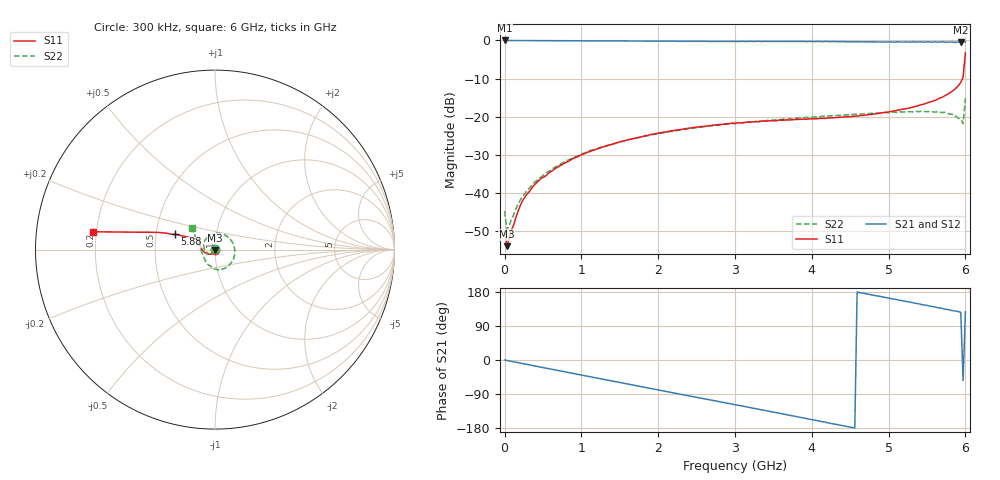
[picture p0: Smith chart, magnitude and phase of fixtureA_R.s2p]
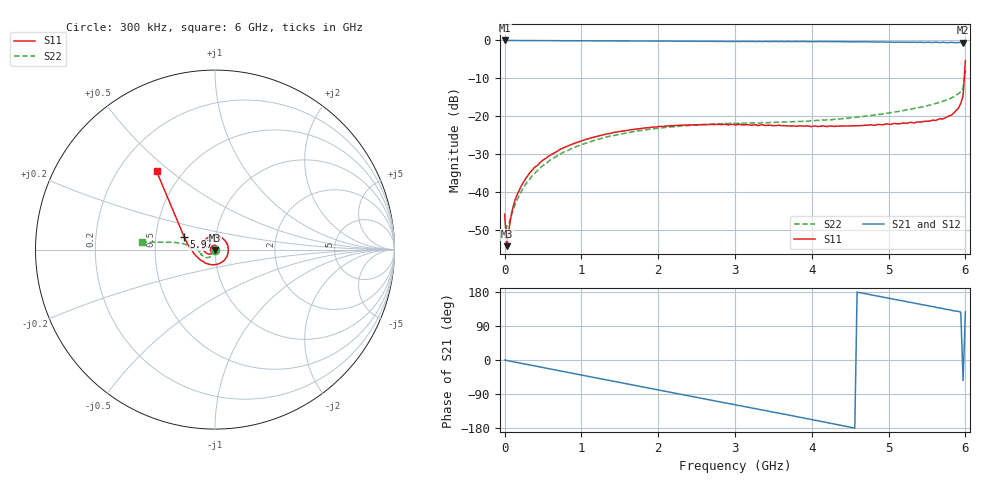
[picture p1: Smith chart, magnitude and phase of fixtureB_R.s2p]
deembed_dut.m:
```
clc 
clear

%%Deembedding resistors
fixture_DUT_fixture_S_params_10ohms = sparameters("X:\EE_514\Measured_Data\EE514_Components\0603_res\0603_RES_10OHMS.S2P");
fixture_DUT_fixture_S_params_51ohms = sparameters("X:\EE_514\Measured_Data\EE514_Components\0603_res\0603_RES_51OHMS.S2P");
fixture_DUT_fixture_S_params_820ohms = sparameters("X:\EE_514\Measured_Data\EE514_Components\0603_res\0603_RES_820OHMS.S2P");

fixture_A_S_params = sparameters("fixtureA_R.s2p");
fixture_B_S_params = sparameters("fixtureB_R.s2p");

% fixture_DUT_fixture_S_params_10ohms.Frequencies = fixture_A_S_params.Frequencies;
% fixture_DUT_fixture_S_params_51ohms.Frequencies = fixture_A_S_params.Frequencies;
% fixture_DUT_fixture_S_params_820ohms.Frequencies = fixture_A_S_params.Frequencies;

DUT_ONLY_SPARAMS_10ohms = deembedsparams(fixture_DUT_fixture_S_params_10ohms, fixture_A_S_params, fixture_B_S_params);
DUT_ONLY_SPARAMS_51ohms = deembedsparams(fixture_DUT_fixture_S_params_51ohms, fixture_A_S_params, fixture_B_S_params);
DUT_ONLY_SPARAMS_820ohms = deembedsparams(fixture_DUT_fixture_S_params_820ohms, fixture_A_S_params, fixture_B_S_params);

rfwrite(DUT_ONLY_SPARAMS_10ohms,'RES_0603_10OHM.s2p','FrequencyUnit', 'Hz');
rfwrite(DUT_ONLY_SPARAMS_51ohms,'RES_0603_51OHM.s2p','FrequencyUnit', 'Hz');
rfwrite(DUT_ONLY_SPARAMS_820ohms,'RES_0603_820OHM.s2p','FrequencyUnit', 'Hz');

%%
%%Deembedding capacitors
fixture_DUT_fixture_S_params_1P5PF = sparameters("X:\EE_514\Measured_Data\EE514_Components\0603_cap\0603_CAP_1P5PF.S2P");
fixture_DUT_fixture_S_params_2P7PF = sparameters("X:\EE_514\Measured_Data\EE514_Components\0603_cap\0603_CAP_2P7PF.S2P");
fixture_DUT_fixture_S_params_5P6PF = sparameters("X:\EE_514\Measured_Data\EE514_Components\0603_cap\0603_CAP_5P6PF.S2P");

fixture_A_S_params = sparameters("fixtureA_C.s2p");
fixture_B_S_params = sparameters("fixtureB_C.s2p");

% fixture_DUT_fixture_S_params_1P5PF.Frequencies = fixture_A_S_params.Frequencies;
% fixture_DUT_fixture_S_params_2P7PF.Frequencies = fixture_A_S_params.Frequencies;
% fixture_DUT_fixture_S_params_5P6PF.Frequencies = fixture_A_S_params.Frequencies;

DUT_ONLY_SPARAMS_1P5PF = deembedsparams(fixture_DUT_fixture_S_params_1P5PF, fixture_A_S_params, fixture_B_S_params);
DUT_ONLY_SPARAMS_2P7PF = deembedsparams(fixture_DUT_fixture_S_params_2P7PF, fixture_A_S_params, fixture_B_S_params);
DUT_ONLY_SPARAMS_5P6PF = deembedsparams(fixture_DUT_fixture_S_params_5P6PF, fixture_A_S_params, fixture_B_S_params);

rfwrite(DUT_ONLY_SPARAMS_1P5PF,'CAP_0603_1P5PF.s2p','FrequencyUnit', 'Hz');
rfwrite(DUT_ONLY_SPARAMS_2P7PF,'CAP_0603_2P7PF.s2p','FrequencyUnit', 'Hz');
rfwrite(DUT_ONLY_SPARAMS_5P6PF,'CAP_0603_5P6PF.s2p','FrequencyUnit', 'Hz');

%%
%%Deembedding inductors
fixture_DUT_fixture_S_params_1P8NH = sparameters("X:\EE_514\Measured_Data\EE514_Components\0603_ind\0603_IND_1P8NH.S2P");
fixture_DUT_fixture_S_params_56NH = sparameters("X:\EE_514\Measured_Data\EE514_Components\0603_ind\0603_IND_56NH.S2P");
fixture_DUT_fixture_S_params_100NH = sparameters("X:\EE_514\Measured_Data\EE514_Components\0603_ind\0603_IND_100NH.S2P");

fixture_A_S_params = sparameters("fixtureA_L.s2p");
fixture_B_S_params = sparameters("fixtureB_L.s2p");

% fixture_DUT_fixture_S_params_1P8NH.Frequencies = fixture_A_S_params.Frequencies;
% fixture_DUT_fixture_S_params_56NH.Frequencies = fixture_A_S_params.Frequencies;
% fixture_DUT_fixture_S_params_100NH.Frequencies = fixture_A_S_params.Frequencies;

DUT_ONLY_SPARAMS_1P8NH = deembedsparams(fixture_DUT_fixture_S_params_1P8NH, fixture_A_S_params, fixture_B_S_params);
DUT_ONLY_SPARAMS_56NH = deembedsparams(fixture_DUT_fixture_S_params_56NH, fixture_A_S_params, fixture_B_S_params);
DUT_ONLY_SPARAMS_100NH = deembedsparams(fixture_DUT_fixture_S_params_100NH, fixture_A_S_params, fixture_B_S_params);

rfwrite(DUT_ONLY_SPARAMS_1P8NH,'IND_0603_1P8NH.s2p','FrequencyUnit', 'Hz');
rfwrite(DUT_ONLY_SPARAMS_56NH,'IND_0603_56NH.s2p','FrequencyUnit', 'Hz');
rfwrite(DUT_ONLY_SPARAMS_100NH,'IND_0603_100NH.s2p','FrequencyUnit', 'Hz');
```
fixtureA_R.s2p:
# Hz S RI R 50
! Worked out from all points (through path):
!   201 points, 300 kHz to 6 GHz, reference 50 ohm
!   highest |S21| = 0.01 dB at 300 kHz (marker M1); lowest = -0.5 dB at 5.94 GHz (marker M2)
!   lowest |S11| = -53.9 dB at 30.3 MHz (marker M3), VSWR 1.00, Z = 50.1 - j0.14 ohm
!   |S11| at or under -10 dB: start of sweep to 5.961 GHz
!   |S22| runs from -49.6 to -15.2 dB; largest |S21 - S12| = 4.7e-16
!   S11 on the Smith chart (normalised r, x): 300 kHz: 1.01, -0.00; 5.88 GHz: 0.62, +0.11; 6 GHz: 0.19, +0.07
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300000  0.00267 -0.00164  1.001 -0.000561  1.001 -0.000561  -0.00254 0.00525
3.02985e7  0.00147 -0.00139  0.9994 -0.0217  0.9994 -0.0217  0.00329 -0.00044
2.702865e8  -0.000311 -0.00912  0.9792 -0.1875  0.9792 -0.1875  0.00051 -0.0101
8.702565e8  -0.0154 -0.0231  0.8173 -0.5627  0.8173 -0.5627  -0.0167 -0.023
1.980201e9  -0.0587 -0.015  0.1998 -0.9626  0.1998 -0.9626  -0.0595 0.00271
3.00015e9  -0.0799 0.0198  -0.4565 -0.863  -0.4565 -0.863  -0.0383 0.0714
4.41008e9  -0.0856 0.0506  -0.9601 -0.1073  -0.9601 -0.1073  0.098 0.0391
5.880006e9  -0.225 0.0849  -0.5985 0.7347  -0.5985 0.7347  -0.0179 -0.0992
5.940003e9  -0.2683 0.0912  -0.5516 0.7635  -0.5516 0.7635  -0.0377 -0.0852
5.970002e9  -0.3173 0.096  0.5507 -0.7661  0.5507 -0.7661  -0.0546 -0.0604
6e9  -0.6806 0.0993  -0.5792 0.7698  -0.5792 0.7698  -0.1284 0.1181
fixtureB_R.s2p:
# Hz S RI R 50
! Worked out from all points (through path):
!   201 points, 300 kHz to 6 GHz, reference 50 ohm
!   highest |S21| = 0.00 dB at 300 kHz (marker M1); lowest = -0.6 dB at 5.97 GHz (marker M2)
!   lowest |S11| = -54.2 dB at 30.3 MHz (marker M3), VSWR 1.00, Z = 49.9 - j0.134 ohm
!   |S11| at or under -10 dB: start of sweep to 5.985 GHz
!   |S22| runs from -52.2 to -7.8 dB; largest |S21 - S12| = 6e-16
!   S11 on the Smith chart (normalised r, x): 300 kHz: 0.99, +0.01; 5.97 GHz: 0.70, +0.10; 6 GHz: 0.36, +0.45
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300000  -0.00411 0.00312  1 -0.00232  1 -0.00232  -0.00106 -0.00222
3.02985e7  -0.00142 -0.00135  0.9991 -0.0218  0.9991 -0.0218  -0.00305 -0.00213
1.20294e8  -0.00231 -0.00662  0.9947 -0.0848  0.9947 -0.0848  -0.00331 -0.00525
2.40288e8  -0.00493 -0.0124  0.9832 -0.1672  0.9832 -0.1672  -0.00423 -0.0105
7.20264e8  -0.0263 -0.0256  0.8708 -0.4763  0.8708 -0.4763  -0.0131 -0.0287
1.890206e9  -0.0673 0.024  0.2589 -0.9488  0.2589 -0.9488  -0.0519 -0.0436
3.00015e9  -0.006 0.0769  -0.4556 -0.8601  -0.4556 -0.8601  -0.0761 -0.0277
4.470076e9  0.0736 -0.0131  -0.9606 -0.0666  -0.9606 -0.0666  -0.0944 -0.00538
5.940003e9  -0.1474 0.0209  -0.5519 0.7549  -0.5519 0.7549  -0.208 0.0381
5.970002e9  -0.1717 0.0707  0.5437 -0.756  0.5437 -0.756  -0.2326 0.0407
6e9  -0.3257 0.4366  -0.5784 0.7524  -0.5784 0.7524  -0.4062 0.0418
